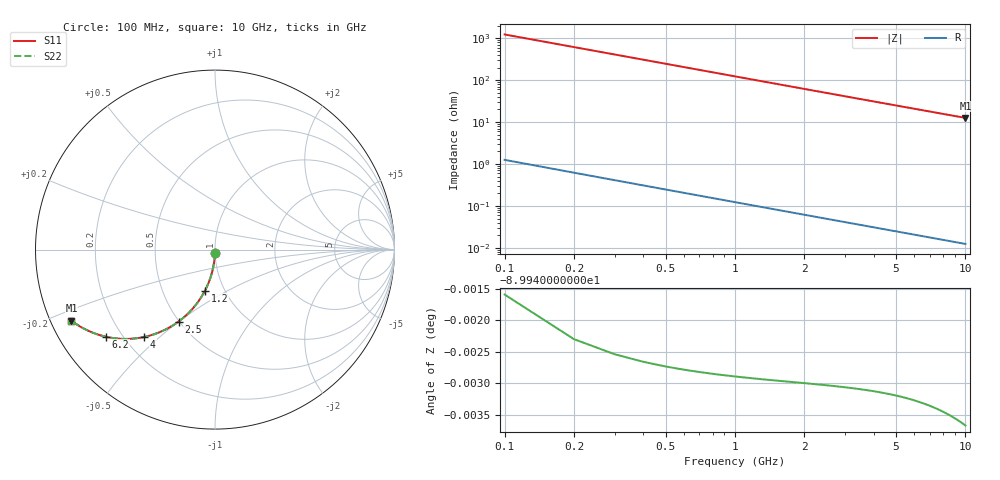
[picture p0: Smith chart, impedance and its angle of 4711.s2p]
# Hz S RI R 50.00
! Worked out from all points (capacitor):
!   100 points, 100 MHz to 10 GHz, reference 50 ohm
!   read as one part in shunt: C = 1.29 pF near 100 MHz
!   lowest |Z| = 12.6 ohm at 10 GHz (marker M1)
!   S11 on the Smith chart (normalised r, x): 100 MHz: 1.00, -0.04; 1.2 GHz: 0.81, -0.39; 2.5 GHz: 0.50, -0.50; 4 GHz: 0.28, -0.45; 6.2 GHz: 0.14, -0.34; 10 GHz: 0.06, -0.23
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1e8  -0.000426 -0.0202  0.9996 -0.0203  0.9996 -0.0203  -0.000426 -0.0202
2e8  -0.00168 -0.0404  0.9983 -0.0406  0.9983 -0.0406  -0.00168 -0.0404
3e8  -0.00374 -0.0605  0.9962 -0.0607  0.9962 -0.0607  -0.00374 -0.0605
4e8  -0.00661 -0.0804  0.9934 -0.0807  0.9934 -0.0807  -0.00661 -0.0804
5e8  -0.0103 -0.1002  0.9897 -0.1005  0.9897 -0.1005  -0.0103 -0.1002
6e8  -0.0147 -0.1196  0.9853 -0.1201  0.9853 -0.1201  -0.0147 -0.1196
7e8  -0.0199 -0.1388  0.9801 -0.1393  0.9801 -0.1393  -0.0199 -0.1388
9e8  -0.0323 -0.1761  0.9676 -0.1768  0.9676 -0.1768  -0.0323 -0.1761
1.2e9  -0.056 -0.2289  0.944 -0.2298  0.944 -0.2298  -0.056 -0.2289
1.5e9  -0.0846 -0.2772  0.9154 -0.2783  0.9154 -0.2783  -0.0846 -0.2772
1.8e9  -0.1172 -0.3206  0.8827 -0.3219  0.8827 -0.3219  -0.1172 -0.3206
2.1e9  -0.1529 -0.3586  0.8471 -0.3601  0.8471 -0.3601  -0.1529 -0.3586
2.5e9  -0.2033 -0.401  0.7967 -0.4029  0.7967 -0.4029  -0.2033 -0.401
2.9e9  -0.2551 -0.4344  0.7448 -0.4365  0.7448 -0.4365  -0.2551 -0.4344
3.4e9  -0.3196 -0.4646  0.6804 -0.4671  0.6804 -0.4671  -0.3196 -0.4646
4e9  -0.3933 -0.4865  0.6067 -0.4895  0.6067 -0.4895  -0.3933 -0.4865
5.1e9  -0.512 -0.4975  0.488 -0.5013  0.488 -0.5013  -0.512 -0.4975
6.2e9  -0.607 -0.4856  0.3929 -0.4902  0.3929 -0.4902  -0.607 -0.4856
6.7e9  -0.643 -0.4761  0.3569 -0.4811  0.3569 -0.4811  -0.643 -0.4761
7.5e9  -0.6926 -0.4581  0.3074 -0.4637  0.3074 -0.4637  -0.6926 -0.4581
8.4e9  -0.7383 -0.4359  0.2617 -0.4422  0.2617 -0.4422  -0.7383 -0.4359
1e10  -0.7995 -0.396  0.2004 -0.4036  0.2004 -0.4036  -0.7995 -0.396
